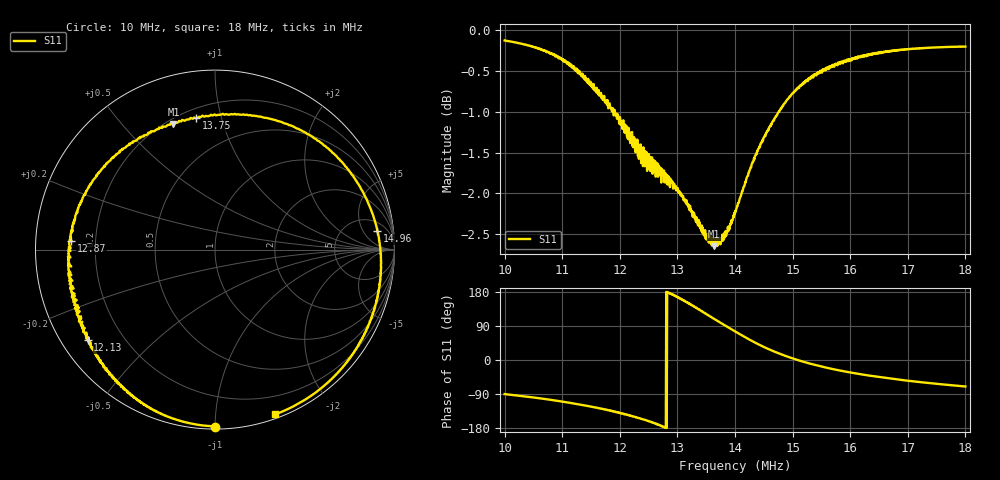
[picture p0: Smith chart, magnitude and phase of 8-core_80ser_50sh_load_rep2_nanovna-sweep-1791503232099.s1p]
! NanoVNA Web complex sweep
! Processing: unaveraged complex samples; linear segment spacing; no smoothing
# Hz S RI R 50
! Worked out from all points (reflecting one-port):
!   1010 points, 10 MHz to 18 MHz, reference 50 ohm
!   lowest |S11| = -2.6 dB at 13.64 MHz (marker M1), VSWR 6.61, Z = 11.4 + j34.9 ohm
!   phase of S11 starts at -90 deg and turns -340 deg over the sweep
!   S11 on the Smith chart (normalised r, x): 10 MHz: 0.01, -1.00; 12.13 MHz: 0.08, -0.32; 12.87 MHz: 0.11, +0.03; 13.75 MHz: 0.26, +0.83; 14.96 MHz: 9, +10; 18 MHz: 0.03, -1.43
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1e7  0.00147 -0.9858
1.056296e7  -0.1709 -0.9605
1.100698e7  -0.3269 -0.901
1.151444e7  -0.5077 -0.7711
1.200604e7  -0.6727 -0.5732
1.21329e7  -0.7087 -0.5043
1.254521e7  -0.7954 -0.2375
1.272758e7  -0.8188 -0.0765
1.28703e7  -0.8 0.046
1.300509e7  -0.7762 0.1945
1.314781e7  -0.7011 0.3497
1.329054e7  -0.6038 0.481
1.345704e7  -0.4341 0.6119
1.363941e7  -0.2318 0.6998
1.375042e7  -0.1043 0.7318
1.400414e7  0.1977 0.7491
1.423409e7  0.4653 0.6726
1.447988e7  0.6941 0.5028
1.472568e7  0.8359 0.2977
1.495562e7  0.905 0.1032
1.50032e7  0.9131 0.0666
1.521728e7  0.9261 -0.0945
1.548687e7  0.9025 -0.2717
1.600225e7  0.8042 -0.5207
1.643835e7  0.7013 -0.6681
1.700131e7  0.5633 -0.794
1.748498e7  0.4492 -0.8667
1.800036e7  0.3361 -0.9178
